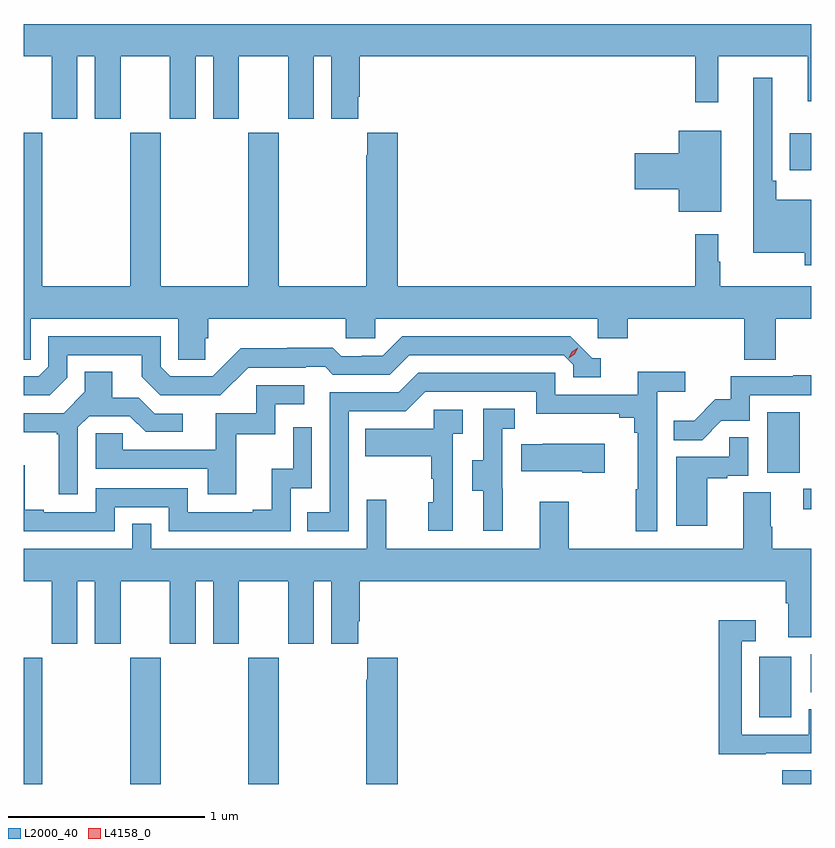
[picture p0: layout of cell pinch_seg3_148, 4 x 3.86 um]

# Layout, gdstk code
import gdstk
lib = gdstk.Library(unit=1e-6, precision=1e-09)
def R(c, l, rs):  # rectangles x0, y0, x1, y1
    for r in rs: c.add(gdstk.rectangle(r[:2], r[2:], *l))
def P(c, l, *ps):  # polygons
    for p in ps: c.add(gdstk.Polygon(p, *l))
L2000_40 = (2000, 40)
L4158_0 = (4158, 0)

pinch_seg3_148 = lib.new_cell('pinch_seg3_148')
R(pinch_seg3_148, L2000_40, [(1125.51,717.202,1125.606,717.844), (1126.051,717.202,1126.206,717.844), (1126.651,717.202,1126.806,717.844), (1129.361,717.202,1129.51,717.272), (1129.244,717.54,1129.408,717.847), (1129.506,717.667,1129.51,717.861), (1129.467,718.596,1129.51,718.701), (1129.286,718.782,1129.45,719.089), (1129.4,720.317,1129.51,720.505)])
P(pinch_seg3_148, L2000_40, [(1125.784,720.896),(1125.872,720.896),(1125.872,720.579),(1126.003,720.579),(1126.003,720.896),(1126.253,720.896),(1126.253,720.579),(1126.384,720.579),(1126.384,720.896),(1126.472,720.896),(1126.472,720.579),(1126.603,720.579),(1126.603,720.896),(1126.853,720.896),(1126.853,720.579),(1126.984,720.579),(1126.984,720.896),(1127.072,720.896),(1127.072,720.579),(1127.209,720.579),(1127.209,720.691),(1127.216,720.691),(1127.216,720.896),(1128.919,720.896),(1128.919,720.663),(1129.037,720.663),(1129.037,720.896),(1129.49,720.896),(1129.49,720.668),(1129.51,720.668),(1129.51,721.06),(1125.51,721.06),(1125.51,720.896),(1125.653,720.896),(1125.653,720.579),(1125.784,720.579)],
  [(1129.51,720.169),(1129.331,720.169),(1129.331,720.265),(1129.311,720.265),(1129.311,720.787),(1129.214,720.787),(1129.214,719.9),(1129.476,719.9),(1129.476,719.835),(1129.51,719.835)],
  [(1129.051,720.517),(1128.836,720.517),(1128.836,720.404),(1128.612,720.404),(1128.612,720.221),(1128.836,720.221),(1128.836,720.107),(1129.051,720.107)],
  [(1125.546,719.564),(1126.296,719.564),(1126.296,719.356),(1126.433,719.356),(1126.433,719.466),(1126.448,719.466),(1126.448,719.564),(1127.145,719.564),(1127.145,719.466),(1127.295,719.466),(1127.295,719.564),(1128.426,719.564),(1128.426,719.466),(1128.578,719.466),(1128.578,719.564),(1129.169,719.564),(1129.169,719.356),(1129.329,719.356),(1129.329,719.564),(1129.51,719.564),(1129.51,719.728),(1129.048,719.728),(1129.048,719.852),(1129.036,719.852),(1129.036,719.992),(1128.919,719.992),(1128.919,719.728),(1127.411,719.728),(1127.411,720.508),(1127.255,720.508),(1127.255,720.395),(1127.251,720.395),(1127.251,719.728),(1126.806,719.728),(1126.806,720.508),(1126.651,720.508),(1126.651,719.728),(1126.206,719.728),(1126.206,720.508),(1126.051,720.508),(1126.051,719.728),(1125.606,719.728),(1125.606,720.508),(1125.51,720.508),(1125.51,719.356),(1125.546,719.356)],
  [(1125.732,719.265),(1125.732,719.379),(1126.109,719.379),(1126.109,719.269),(1126.203,719.175),(1126.509,719.175),(1126.65,719.316),(1126.943,719.316),(1126.943,719.319),(1127.042,719.319),(1127.081,719.28),(1127.37,719.28),(1127.469,719.379),(1128.252,719.379),(1128.3,719.331),(1128.3,719.268),(1128.439,719.268),(1128.439,719.364),(1128.396,719.364),(1128.285,719.475),(1127.432,719.475),(1127.333,719.376),(1127.226,719.376),(1127.226,719.373),(1127.123,719.373),(1127.081,719.416),(1126.848,719.416),(1126.848,719.413),(1126.612,719.413),(1126.47,719.271),(1126.254,719.271),(1126.206,719.319),(1126.206,719.475),(1125.636,719.475),(1125.636,719.319),(1125.588,719.271),(1125.51,719.271),(1125.51,719.175),(1125.642,719.175)],
  [(1125.786,719.013),(1125.843,719.07),(1126.049,719.07),(1126.13,718.989),(1126.318,718.989),(1126.318,719.082),(1126.176,719.082),(1126.096,719.162),(1125.961,719.162),(1125.961,719.294),(1125.821,719.294),(1125.821,719.192),(1125.714,719.085),(1125.51,719.085),(1125.51,718.988),(1125.678,718.988),(1125.678,718.977),(1125.689,718.977),(1125.689,718.674),(1125.786,718.674)],
  [(1127.16,719.094),(1127.451,719.094),(1127.55,719.193),(1128.114,719.193),(1128.114,719.081),(1128.533,719.081),(1128.533,719.062),(1128.61,719.062),(1128.61,718.985),(1128.629,718.985),(1128.629,718.697),(1128.618,718.697),(1128.618,718.485),(1128.726,718.485),(1128.726,719.192),(1128.868,719.192),(1128.868,719.294),(1128.629,719.294),(1128.629,719.178),(1128.21,719.178),(1128.21,719.289),(1127.513,719.289),(1127.414,719.19),(1127.064,719.19),(1127.064,718.581),(1126.951,718.581),(1126.951,718.485),(1127.16,718.485)],
  [(1129.053,719.046),(1129.197,719.046),(1129.197,719.175),(1129.51,719.175),(1129.51,719.276),(1129.417,719.276),(1129.417,719.271),(1129.099,719.271),(1129.099,719.154),(1129.022,719.154),(1128.915,719.047),(1128.811,719.047),(1128.811,718.948),(1128.955,718.948)],
  [(1126.589,718.977),(1126.788,718.977),(1126.788,719.13),(1126.936,719.13),(1126.936,719.226),(1126.692,719.226),(1126.692,719.085),(1126.487,719.085),(1126.487,718.899),(1126.013,718.899),(1126.013,718.983),(1125.876,718.983),(1125.876,718.803),(1126.445,718.803),(1126.445,718.674),(1126.589,718.674)],
  [(1127.942,718.701),(1127.94,718.701),(1127.94,719.005),(1128.004,719.005),(1128.004,719.108),(1127.844,719.108),(1127.844,718.845),(1127.789,718.845),(1127.789,718.69),(1127.843,718.69),(1127.843,718.488),(1127.942,718.488)],
  [(1127.688,718.979),(1127.74,718.979),(1127.74,719.103),(1127.592,719.103),(1127.592,719.005),(1127.245,719.005),(1127.245,718.865),(1127.58,718.865),(1127.58,718.751),(1127.59,718.751),(1127.59,718.632),(1127.564,718.632),(1127.564,718.488),(1127.688,718.488)],
  [(1125.972,718.608),(1126.248,718.608),(1126.248,718.485),(1126.866,718.485),(1126.866,718.704),(1126.974,718.704),(1126.974,719.014),(1126.878,719.014),(1126.878,718.802),(1126.769,718.802),(1126.769,718.594),(1126.673,718.594),(1126.673,718.581),(1126.344,718.581),(1126.344,718.704),(1125.876,718.704),(1125.876,718.581),(1125.613,718.581),(1125.613,718.594),(1125.517,718.594),(1125.517,718.819),(1125.51,718.819),(1125.51,718.485),(1125.972,718.485)],
  [(1128.982,718.755),(1129.082,718.755),(1129.082,718.767),(1129.188,718.767),(1129.188,718.961),(1129.093,718.961),(1129.093,718.863),(1128.824,718.863),(1128.824,718.512),(1128.982,718.512)],
  [(1128.46,718.93),(1128.145,718.93),(1128.145,718.927),(1128.037,718.927),(1128.037,718.79),(1128.347,718.79),(1128.347,718.783),(1128.46,718.783)],
  [(1125.784,718.232),(1125.872,718.232),(1125.872,717.915),(1126.003,717.915),(1126.003,718.232),(1126.253,718.232),(1126.253,717.915),(1126.384,717.915),(1126.384,718.232),(1126.472,718.232),(1126.472,717.915),(1126.603,717.915),(1126.603,718.232),(1126.853,718.232),(1126.853,717.915),(1126.984,717.915),(1126.984,718.232),(1127.072,718.232),(1127.072,717.915),(1127.209,717.915),(1127.209,718.027),(1127.216,718.027),(1127.216,718.232),(1129.379,718.232),(1129.379,718.12),(1129.391,718.12),(1129.391,717.946),(1129.51,717.946),(1129.51,718.396),(1129.311,718.396),(1129.311,718.508),(1129.303,718.508),(1129.303,718.682),(1129.163,718.682),(1129.163,718.396),(1128.279,718.396),(1128.279,718.636),(1128.131,718.636),(1128.131,718.396),(1127.351,718.396),(1127.351,718.645),(1127.253,718.645),(1127.253,718.396),(1126.158,718.396),(1126.158,718.523),(1126.062,718.523),(1126.062,718.396),(1125.51,718.396),(1125.51,718.232),(1125.653,718.232),(1125.653,717.915),(1125.784,717.915)],
  [(1129.277,717.357),(1129.51,717.357),(1129.51,717.582),(1129.497,717.582),(1129.497,717.453),(1129.155,717.453),(1129.155,717.927),(1129.228,717.927),(1129.228,718.033),(1129.039,718.033),(1129.039,717.352),(1129.277,717.352)],
  [(1127.411,717.844),(1127.255,717.844),(1127.255,717.731),(1127.251,717.731),(1127.251,717.202),(1127.411,717.202)])
P(pinch_seg3_148, L4158_0, [(1128.277,719.364),(1128.277,719.365),(1128.292,719.397),(1128.323,719.417),(1128.323,719.417),(1128.323,719.417),(1128.307,719.384),(1128.277,719.364)])

lib.write_gds('pinch_seg3_148.gds')
